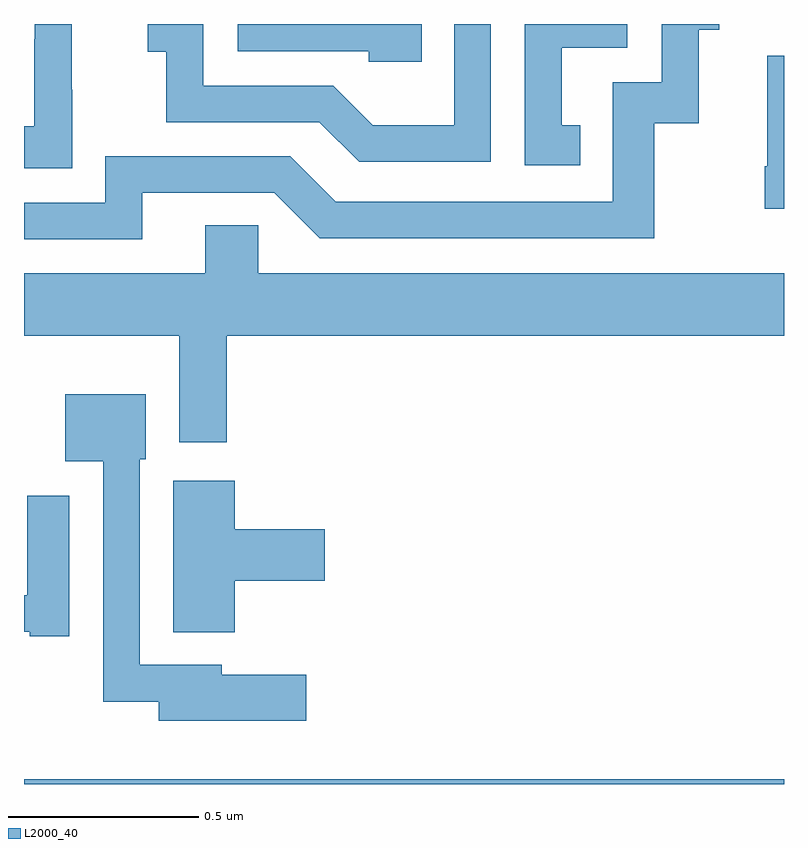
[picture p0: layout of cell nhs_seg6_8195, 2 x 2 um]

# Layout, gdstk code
import gdstk
lib = gdstk.Library(unit=1e-6, precision=1e-09)
def R(c, l, rs):  # rectangles x0, y0, x1, y1
    for r in rs: c.add(gdstk.rectangle(r[:2], r[2:], *l))
def P(c, l, *ps):  # polygons
    for p in ps: c.add(gdstk.Polygon(p, *l))
L2000_40 = (2000, 40)

nhs_seg6_8195 = lib.new_cell('nhs_seg6_8195')
R(nhs_seg6_8195, L2000_40, [(218,935.5,220,935.512)])
P(nhs_seg6_8195, L2000_40, [(219.464,937.233),(219.415,937.233),(219.415,937.437),(219.588,937.437),(219.588,937.5),(219.318,937.5),(219.318,937.128),(219.464,937.128)],
  [(219.228,937.5),(219.132,937.5),(219.132,937.234),(218.918,937.234),(218.814,937.338),(218.472,937.338),(218.472,937.5),(218.325,937.5),(218.325,937.427),(218.374,937.427),(218.374,937.242),(218.777,937.242),(218.882,937.137),(219.228,937.137)],
  [(218.127,937.327),(218.126,937.327),(218.126,937.5),(218.028,937.5),(218.028,937.46),(218.027,937.46),(218.027,937.231),(218,937.231),(218,937.121),(218.127,937.121)],
  [(219.047,937.5),(218.562,937.5),(218.562,937.428),(218.907,937.428),(218.907,937.401),(219.047,937.401)],
  [(218.311,937.056),(218.658,937.056),(218.778,936.936),(219.658,936.936),(219.658,937.239),(219.776,937.239),(219.776,937.485),(219.829,937.485),(219.829,937.5),(219.678,937.5),(219.678,937.347),(219.549,937.347),(219.549,937.032),(218.82,937.032),(218.7,937.152),(218.214,937.152),(218.214,937.029),(218,937.029),(218,936.933),(218.311,936.933)],
  [(220,937.417),(219.956,937.417),(219.956,937.126),(219.949,937.126),(219.949,937.014),(220,937.014)],
  [(218.534,936.68),(220,936.68),(220,936.844),(218.616,936.844),(218.616,936.971),(218.477,936.971),(218.477,936.844),(218,936.844),(218,936.68),(218.408,936.68),(218.408,936.399),(218.534,936.399)],
  [(218.743,935.788),(218.52,935.788),(218.52,935.814),(218.304,935.814),(218.304,936.354),(218.32,936.354),(218.32,936.526),(218.108,936.526),(218.108,936.35),(218.208,936.35),(218.208,935.717),(218.354,935.717),(218.354,935.666),(218.743,935.666)],
  [(218.555,936.035),(218.791,936.035),(218.791,936.17),(218.555,936.17),(218.555,936.298),(218.393,936.298),(218.393,935.899),(218.555,935.899)],
  [(218.119,936.259),(218.009,936.259),(218.009,935.997),(218,935.997),(218,935.901),(218.015,935.901),(218.015,935.889),(218.119,935.889)])

lib.write_gds('nhs_seg6_8195.gds')
